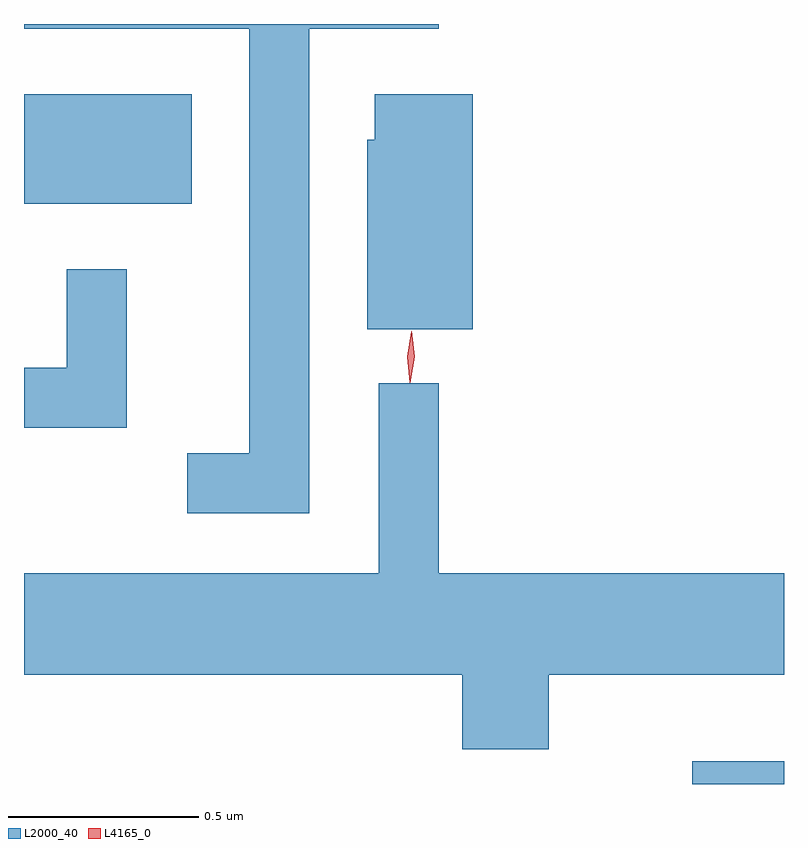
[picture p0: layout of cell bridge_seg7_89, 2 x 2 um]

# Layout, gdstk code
import gdstk
lib = gdstk.Library(unit=1e-6, precision=1e-09)
def R(c, l, rs):  # rectangles x0, y0, x1, y1
    for r in rs: c.add(gdstk.rectangle(r[:2], r[2:], *l))
def P(c, l, *ps):  # polygons
    for p in ps: c.add(gdstk.Polygon(p, *l))
L2000_40 = (2000, 40)
L4165_0 = (4165, 0)

bridge_seg7_89 = lib.new_cell('bridge_seg7_89')
R(bridge_seg7_89, L2000_40, [(1546.991,1749.549,1547.233,1749.609), (1545.233,1751.076,1545.674,1751.364)])
P(bridge_seg7_89, L2000_40, [(1545.984,1751.536),(1546.324,1751.536),(1546.324,1751.549),(1545.233,1751.549),(1545.233,1751.536),(1545.826,1751.536),(1545.826,1750.419),(1545.663,1750.419),(1545.663,1750.261),(1545.984,1750.261)],
  [(1546.414,1751.364),(1546.156,1751.364),(1546.156,1751.244),(1546.136,1751.244),(1546.136,1750.746),(1546.414,1750.746)],
  [(1545.504,1750.903),(1545.346,1750.903),(1545.346,1750.644),(1545.233,1750.644),(1545.233,1750.486),(1545.504,1750.486)],
  [(1546.614,1749.836),(1547.233,1749.836),(1547.233,1750.104),(1546.324,1750.104),(1546.324,1750.603),(1546.166,1750.603),(1546.166,1750.104),(1545.233,1750.104),(1545.233,1749.836),(1546.386,1749.836),(1546.386,1749.641),(1546.614,1749.641)])
P(bridge_seg7_89, L4165_0, [(1546.248,1750.608),(1546.241,1750.674),(1546.252,1750.739),(1546.253,1750.74),(1546.253,1750.739),(1546.261,1750.674),(1546.249,1750.608),(1546.249,1750.608)],
  [(1546.248,1750.605),(1546.241,1750.674),(1546.253,1750.742),(1546.254,1750.742),(1546.254,1750.742),(1546.261,1750.673),(1546.249,1750.605),(1546.249,1750.605)])

lib.write_gds('bridge_seg7_89.gds')
